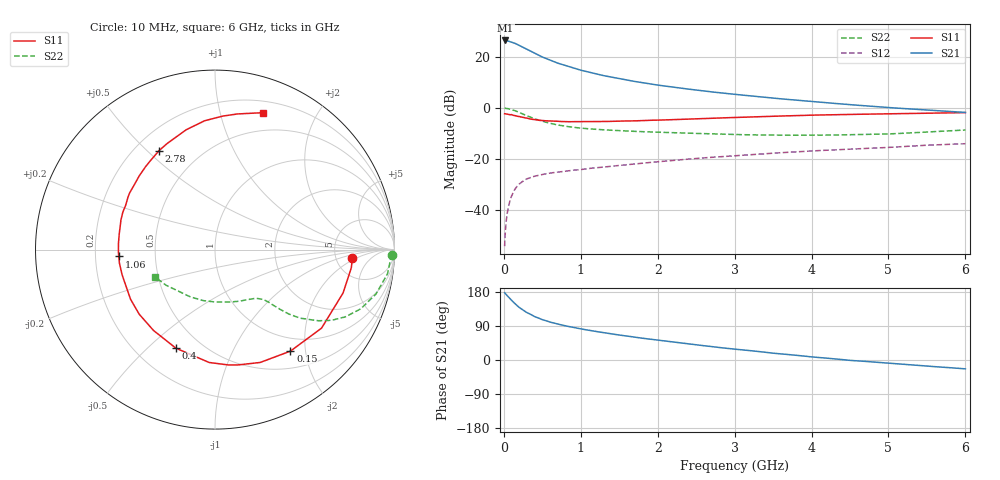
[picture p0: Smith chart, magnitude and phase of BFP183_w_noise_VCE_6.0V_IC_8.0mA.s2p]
! Infineon Technologies  Discrete & RF Semiconductors
! BFP183
! VCE = 6.0 V,  IC =  8.0 mA
! Common Emitter S-Parameters:  Jan 2016
# GHz  S  MA  R  50
!  f  S11  S21  S12  S22
! GHz  MAG  ANG  MAG  ANG  MAG  ANG  MAG  ANG
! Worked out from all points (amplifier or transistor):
!   210 points, 10 MHz to 6 GHz, reference 50 ohm
!   highest |S21| = 26.6 dB at 20 MHz (marker M1)
!   |S21| within 3 dB of that: start of sweep to 268.8 MHz
!   unconditionally stable (mu >= 1): 1.345 GHz to 5.682 GHz
!   at 185 MHz: K = 0.22, MSG = 27.7 dB, |S12| = -30.5 dB
!   at 1.52 GHz: K = 1.05, MAG = 15.7 dB, |S12| = -22.6 dB
!   at 6 GHz: K = 0.95, MSG = 6.2 dB, |S12| = -14.1 dB
!   lowest NFmin = 1.30 dB at 450 MHz
!   S11 on the Smith chart (normalised r, x): 10 MHz: 7.17, -1.67; 150 MHz: 0.77, -1.72; 400 MHz: 0.36, -0.61; 1.06 GHz: 0.30, -0.03; 2.78 GHz: 0.30, +0.54; 6 GHz: 0.31, +1.37
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0.01  0.7666 -3.6  21.08 177.6  0.0019 78.4  0.9877 -1.6
0.02  0.7664 -7.5  21.26 175.5  0.0038 82.8  0.9796 -3.2
0.05  0.7535 -18.7  20.86 168.3  0.0096 82.2  0.9706 -8.0
0.1  0.7375 -36.4  19.72 157.6  0.0184 72.5  0.9299 -15.5
0.15  0.7047 -53.4  18.54 147.3  0.026 64.4  0.8768 -22.1
0.2  0.6773 -68.2  17.07 138.7  0.0317 58.9  0.8159 -27.4
0.26  0.6465 -83.6  15.28 130.1  0.037 53.2  0.7453 -32.0
0.3  0.6297 -93.0  14.29 125.1  0.0402 50.4  0.6999 -34.5
0.4  0.5907 -111.7  11.92 114.5  0.0453 45.2  0.6104 -38.8
0.5  0.5659 -127.3  10.05 106.5  0.049 41.5  0.5463 -41.1
0.6  0.5549 -139.6  8.751 100.1  0.0522 39.8  0.498 -42.4
0.7  0.5458 -149.5  7.614 94.8  0.0545 38.7  0.4616 -43.3
0.8  0.5362 -158.1  6.818 90.0  0.0567 38.0  0.4356 -44.0
1.02  0.5375 -173.4  5.437 81.4  0.0617 38.1  0.3978 -45.3
1.06  0.5374 -175.9  5.253 80.0  0.063 38.2  0.393 -45.6
1.5  0.5494 162.5  3.768 65.8  0.0738 39.1  0.3559 -49.6
2.02  0.5756 141.9  2.787 51.8  0.0876 38.7  0.3329 -56.9
2.78  0.6319 119.8  2.005 33.4  0.1086 36.7  0.3073 -71.7
3.1  0.6542 112.0  1.789 26.8  0.1175 35.4  0.2972 -79.1
4.1  0.7241 93.0  1.301 6.6  0.1447 29.7  0.2912 -106.1
5.1  0.7694 79.5  0.993 -9.8  0.1703 24.2  0.312 -133.6
6  0.8089 70.5  0.815 -23.4  0.1974 16.9  0.3676 -155.4
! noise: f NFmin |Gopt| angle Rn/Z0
0.45  1.3  0.17  43  0.21
0.9  1.35  0.21  115  0.2
1.8  2.05  0.33  -177  0.14
